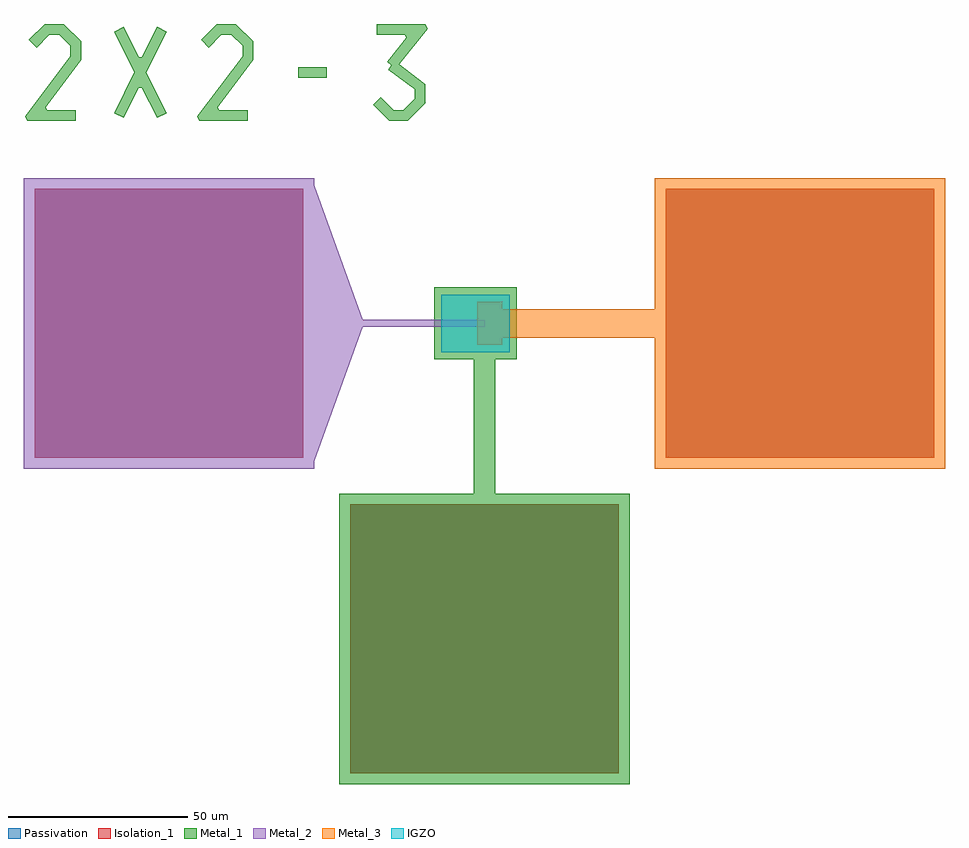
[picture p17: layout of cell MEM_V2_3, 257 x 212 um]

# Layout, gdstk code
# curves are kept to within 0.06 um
import gdstk
lib = gdstk.Library(unit=1e-6, precision=1e-09)
def R(c, l, rs):  # rectangles x0, y0, x1, y1
    for r in rs: c.add(gdstk.rectangle(r[:2], r[2:], *l))
def P(c, l, *ps):  # polygons
    for p in ps: c.add(gdstk.Polygon(p, *l))
Metal_1 = (1, 0)
Isolation_1 = (2, 0)
Metal_2 = (3, 0)
IGZO = (4, 0)
Metal_3 = (5, 0)
Passivation = (6, 0)

mem_v2_3 = lib.new_cell('MEM_V2_3')
R(mem_v2_3, Metal_1, [(87.5,-0.5,168.5,80.5), (76,196.5,84,199.5)])
P(mem_v2_3, Metal_1, [(101.378,184.5),(96.939,188.939),(99.061,191.061),(102.622,187.5),(105.378,187.5),(108.5,190.622),(108.5,193.25),(101.1,198.8),(101.999,200),(100.83,200.937),(106.204,207.656),(105.798,208.5),(98,208.5),(98,211.5),(111.5,211.5),(112.108,210.234),(104.158,200.297),(111.5,194.75),(111.5,189.378),(106.622,184.5)],
  [(0.499,184.5),(-0.1,185.7),(12.5,202.5),(12.5,205.378),(9.378,208.5),(6.622,208.5),(3.061,204.939),(0.939,207.061),(5.378,211.5),(10.622,211.5),(15.5,206.622),(15.5,201.5),(5.6,188.3),(6,187.5),(14,187.5),(14,184.5)],
  [(48.499,184.5),(47.9,185.7),(60.5,202.5),(60.5,205.378),(57.378,208.5),(54.622,208.5),(51.061,204.939),(48.939,207.061),(53.378,211.5),(58.622,211.5),(63.5,206.622),(63.5,201.5),(53.6,188.3),(54,187.5),(62,187.5),(62,184.5)],
  [(27.342,185.328),(24.657,186.671),(30.322,198),(24.657,209.329),(27.342,210.672),(31.553,202.248),(32.447,202.248),(36.658,210.672),(39.343,209.329),(33.677,198),(39.343,186.671),(36.658,185.328),(32.447,193.752),(31.553,193.752)],
  [(88,0),(88,80),(125,80),(125,118),(114,118),(114,138),(137,138),(137,118),(131,118),(131,80),(168,80),(168,0)])
R(mem_v2_3, Isolation_1, [(90.5,2.5,165.5,77.5), (2.5,90.5,77.5,165.5), (178.5,90.5,253.5,165.5)])
R(mem_v2_3, Metal_2, [(-0.5,87.5,80.5,168.5), (0,88,80,168)])
P(mem_v2_3, Metal_2, [(80,88),(80,168),(94,129),(128,129),(128,127),(94,127)])
R(mem_v2_3, IGZO, [(116,120,135,136)])
R(mem_v2_3, Metal_3, [(175.5,87.5,256.5,168.5)])
P(mem_v2_3, Metal_3, [(176,88),(176,124),(133,124),(133,122),(126,122),(126,134),(133,134),(133,132),(176,132),(176,168),(256,168),(256,88)])
R(mem_v2_3, Passivation, [(90.5,2.5,165.5,77.5), (2.5,90.5,77.5,165.5), (178.5,90.5,253.5,165.5)])

lib.write_gds('MEM_V2_3.gds')
